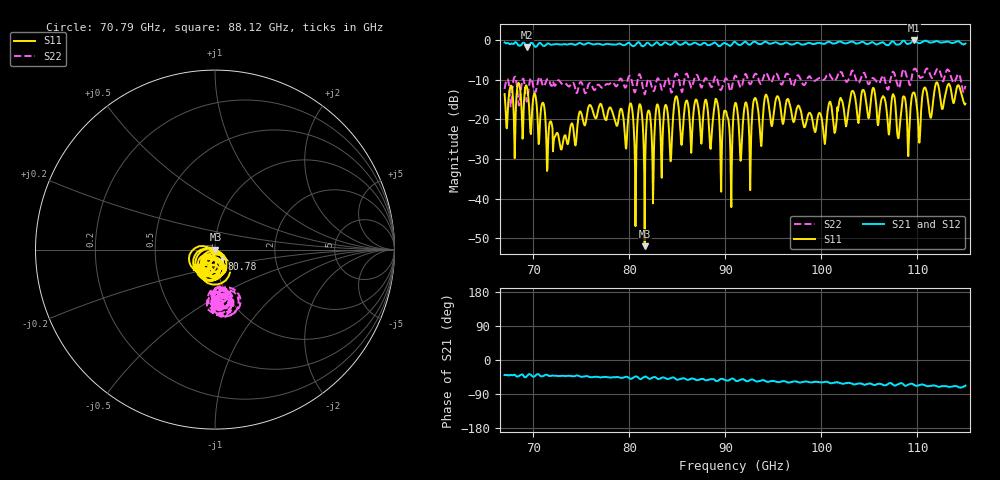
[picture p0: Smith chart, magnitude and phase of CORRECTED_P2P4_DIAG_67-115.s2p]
! Generated by Phase II Calibration
# Hz S RI R 50
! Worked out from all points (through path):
!   1001 points, 67 GHz to 115 GHz, reference 50 ohm
!   highest |S21| = -0.09 dB at 109.6 GHz (marker M1); lowest = -1.8 dB at 69.35 GHz (marker M2)
!   group delay of S21, straight-line fit = 1.82 ps
!   lowest |S11| = -52.0 dB at 81.59 GHz (marker M3), VSWR 1.01, Z = 50.2 - j0.125 ohm
!   |S11| at or under -10 dB: start of sweep to end of sweep
!   |S22| runs from -16.8 to -7.2 dB; largest |S21 - S12| = 0.011
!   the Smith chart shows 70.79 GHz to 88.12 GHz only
!   S11 on the Smith chart (normalised r, x): 70.79 GHz: 0.86, -0.21; 80.78 GHz: 1.08, -0.11; 88.12 GHz: 0.79, -0.16
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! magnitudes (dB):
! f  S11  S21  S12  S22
! 67 GHz  -13.6  -0.6  -0.6  -12.3
! 69.35 GHz  -12.2  -1.8  -1.9  -15.4
! 70.79 GHz  -17.4  -0.9  -0.9  -10.0
! 72.9 GHz  -27.7  -1.1  -1.1  -10.9
! 75.02 GHz  -18.7  -0.9  -0.9  -10.7
! 80.15 GHz  -16.0  -1.1  -1.1  -9.5
! 80.78 GHz  -23.9  -0.8  -0.8  -11.2
! 81.11 GHz  -16.2  -0.9  -0.9  -8.8
! 81.59 GHz  -52.0  -1.3  -1.3  -13.7
! 83.03 GHz  -17.0  -0.9  -0.9  -9.8
! 88.12 GHz  -16.9  -1.2  -1.2  -10.0
! 90.57 GHz  -34.9  -1.4  -1.4  -12.7
! 91 GHz  -16.1  -0.4  -0.4  -9.0
! 91.58 GHz  -30.5  -1.2  -1.2  -11.9
! 93.11 GHz  -14.6  -0.4  -0.4  -8.5
! 99.02 GHz  -19.6  -0.9  -0.9  -9.9
! 105.4 GHz  -12.0  -0.6  -0.6  -9.6
! 107 GHz  -23.9  -1.2  -1.2  -11.9
! 109.6 GHz  -13.2  -0.1  -0.1  -7.4
! 110.2 GHz  -24.5  -0.8  -0.8  -9.1
! 110.8 GHz  -12.0  -0.2  -0.2  -8.1
! 115 GHz  -16.1  -0.9  -0.9  -11.6
